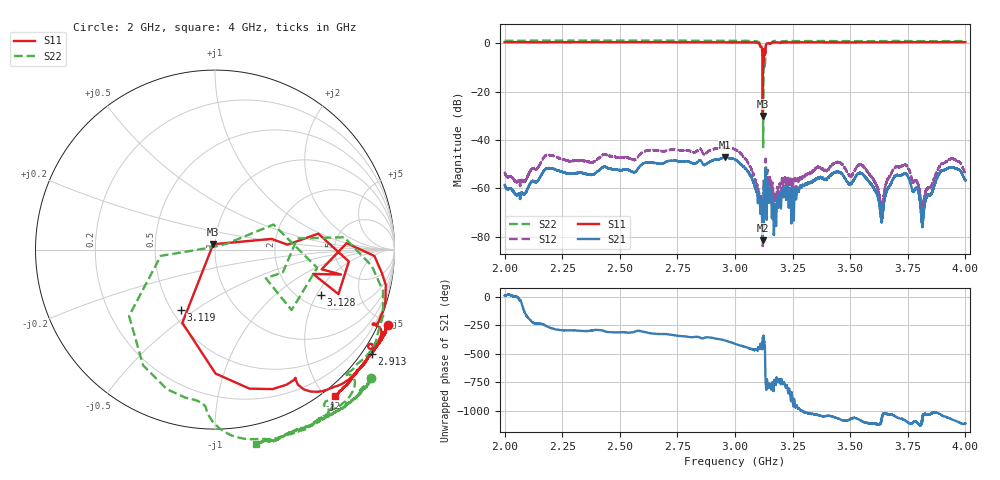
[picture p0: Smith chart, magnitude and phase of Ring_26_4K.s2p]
!Agilent Technologies,N5230C,SG49000117,A.08.50.07
!Agilent N5230C: A.08.50.07
!Date: Tuesday, May 07, 2024 00:20:11
!Correction: S11(Full 2 Port(1,2))
!S21(Full 2 Port(1,2))
!S12(Full 2 Port(1,2))
!S22(Full 2 Port(1,2))
!S2P File: Measurements: S11, S21, S12, S22:
# Hz S  MA  R 50
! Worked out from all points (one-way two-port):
!   20001 points, 2 GHz to 4 GHz, reference 50 ohm
!   highest |S21| = -47.12 dB at 2.957 GHz (marker M1); lowest = -81.4 dB at 3.12 GHz (marker M2)
!   lowest |S11| = -30.1 dB at 3.121 GHz (marker M3), VSWR 1.06, Z = 48.9 + j2.91 ohm
!   |S11| at or under -10 dB: 3.119719 GHz to 3.121863 GHz (2.144 MHz wide, 0.0687 % of centre)
!   |S22| runs from -43.4 to 1.1 dB; largest |S21 - S12| = 0.0038
!   S11 on the Smith chart (normalised r, x): 2 GHz: -0.59, -4.70; 2.913 GHz: -0.27, -3.29; 3.119 GHz: 0.55, -0.44; 3.128 GHz: 2.53, -2.19; 4 GHz: -0.15, -2.11
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2e9  1.052 -23.7  0.00118 13.1  0.00211 -4.6  1.127 -39.3
2.3334e9  1.058 -26.6  0.002096 62.4  0.003736 43.0  1.134 -44.4
2.6667e9  1.053 -29.7  0.0033 35.1  0.005983 11.6  1.133 -50.0
2.9134e9  1.047 -33.6  0.003955 -3.4  0.00659 -29.3  1.119 -56.5
2.9572e9  1.047 -34.5  0.004405 -22.6  0.007065 -48.5  1.118 -57.9
3e9  1.043 -35.8  0.004001 -50.6  0.006419 -76.3  1.118 -59.8
3.0988e9  1.013 -49.0  0.0005439 -103.5  0.0007531 -133.3  1.082 -77.5
3.1195e9  0.3881 -119.5  0.000409 -68.0  0.0003476 -78.9  0.5685 -146.5
3.1204e9  0.07118 -165.7  8.507e-05 -41.6  6.404e-05 -58.3  0.3574 -168.1
3.1206e9  0.03134 108.6  0.0001585 -18.3  0.0001426 -20.1  0.304 -173.4
3.1277e9  0.6427 -23.2  0.001023 -52.2  0.001404 -62.9  0.4341 -44.8
3.1417e9  0.9967 -20.7  0.001331 -39.5  0.002394 -55.3  1.028 -36.3
3.1778e9  1.044 -29.9  0.0001965 -32.7  0.0002916 -55.7  1.113 -50.6
3.2109e9  1.038 -32.2  0.0006672 -34.6  0.001107 -55.8  1.104 -54.5
3.3334e9  1.048 -37.3  0.001326 54.8  0.002097 31.5  1.113 -61.3
3.5484e9  1.046 -41.4  0.002066 -6.6  0.003068 -33.6  1.103 -68.0
3.6362e9  1.047 -43.6  0.0002167 3.6  0.0003128 -15.3  1.104 -70.3
3.6667e9  1.049 -44.2  0.001043 49.3  0.001623 23.2  1.109 -71.4
3.7426e9  1.053 -45.7  0.001983 -9.1  0.00301 -38.5  1.109 -73.2
3.8138e9  1.051 -46.9  0.0002046 6.4  0.0002963 -17.5  1.099 -75.1
3.8965e9  1.053 -48.4  0.002339 43.5  0.003221 16.1  1.104 -76.5
4e9  1.054 -50.5  0.001478 -30.7  0.002092 -60.4  1.109 -78.2
